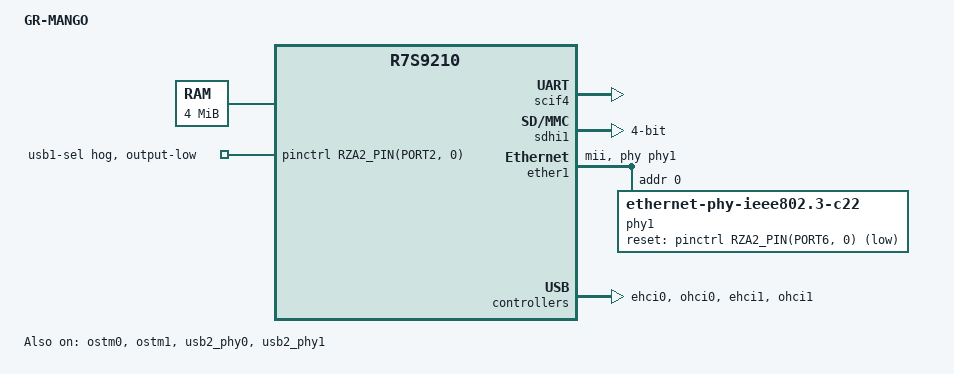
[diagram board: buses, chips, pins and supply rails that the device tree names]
// SPDX-License-Identifier: GPL-2.0
/*
 * Device Tree Source for the GR-MANGO board (Renesas RZ/A2M R7S921058VCBG)
 *
 * The memory node lists the on-chip RAM only: the OctaRAM (0x60000000) is
 * usable once the boot loader has set up its controller.
 */

/dts-v1/;
#include "r7s9210.dtsi"
#include <dt-bindings/gpio/gpio.h>
#include <dt-bindings/pinctrl/r7s9210-pinctrl.h>

/ {
	model = "GR-MANGO";
	compatible = "renesas,gr-mango", "renesas,r7s9210";

	aliases {
		serial0 = &scif4;
		ethernet0 = &ether1;
	};

	chosen {
		stdout-path = "serial0:115200n8";
	};

	/* On-chip RAM; the first 128 KiB are the data-retention RAM. */
	memory@80000000 {
		device_type = "memory";
		reg = <0x80000000 0x00400000>;
	};
};

&extal_clk {
	clock-frequency = <24000000>;
};

&ostm0 {
	status = "okay";
};

&ostm1 {
	status = "okay";
};

&pinctrl {
	/* USB serial of the mbed interface (LPC11U35) */
	scif4_pins: serial4 {
		pinmux = <RZA2_PINMUX(PORT9, 0, 4)>,	/* TxD4 */
			 <RZA2_PINMUX(PORT9, 1, 4)>;	/* RxD4 */
	};

	sdhi1_pins: sdhi1 {
		pinmux = <RZA2_PINMUX(PORT6, 4, 5)>;	/* SD1_CD */
	};

	ether1_pins: ether1 {
		pinmux = <RZA2_PINMUX(PORT3, 1, 1)>,	/* ET1_RXER */
			 <RZA2_PINMUX(PORT3, 2, 1)>,	/* ET1_CRS */
			 <RZA2_PINMUX(PORT3, 3, 1)>,	/* ET1_MDC */
			 <RZA2_PINMUX(PORT3, 4, 1)>,	/* ET1_MDIO */
			 <RZA2_PINMUX(PORT3, 5, 1)>,	/* ET1_RXD1 */
			 <RZA2_PINMUX(PORTC, 0, 3)>,	/* ET1_TXCLK */
			 <RZA2_PINMUX(PORTC, 1, 3)>,	/* ET1_TXD2 */
			 <RZA2_PINMUX(PORTC, 2, 3)>,	/* ET1_TXD3 */
			 <RZA2_PINMUX(PORTC, 3, 3)>,	/* ET1_COL */
			 <RZA2_PINMUX(PORTC, 4, 3)>,	/* ET1_TXER */
			 <RZA2_PINMUX(PORTC, 5, 3)>,	/* ET1_RXDV */
			 <RZA2_PINMUX(PORTC, 6, 3)>,	/* ET1_RXD2 */
			 <RZA2_PINMUX(PORTC, 7, 3)>,	/* ET1_RXD3 */
			 <RZA2_PINMUX(PORTK, 0, 1)>,	/* ET1_TXEN */
			 <RZA2_PINMUX(PORTK, 1, 1)>,	/* ET1_TXD0 */
			 <RZA2_PINMUX(PORTK, 2, 1)>,	/* ET1_TXD1 */
			 <RZA2_PINMUX(PORTK, 3, 1)>,	/* ET1_RXCLK */
			 <RZA2_PINMUX(PORTK, 4, 1)>;	/* ET1_RXD0 */
	};

	usb0_pins: usb0 {
		pinmux = <RZA2_PINMUX(PORT1, 0, 5)>,	/* VBUSEN0 */
			 <RZA2_PINMUX(PORTJ, 5, 3)>;	/* OVRCUR0 */
	};

	/* upper Type-A port / Type-C port */
	usb1_pins: usb1 {
		pinmux = <RZA2_PINMUX(PORT1, 2, 5)>;	/* VBUSEN1 */
	};

	/* 0: USB C, 1: USB A */
	usb1-sel-hog {
		gpio-hog;
		gpios = <RZA2_PIN(PORT2, 0) GPIO_ACTIVE_HIGH>;
		output-low;
		line-name = "usb1-sel";
	};
};

&scif4 {
	pinctrl-names = "default";
	pinctrl-0 = <&scif4_pins>;
	status = "okay";
};

&sdhi1 {
	pinctrl-names = "default";
	pinctrl-0 = <&sdhi1_pins>;
	bus-width = <4>;
	status = "okay";
};

&ether1 {
	pinctrl-names = "default";
	pinctrl-0 = <&ether1_pins>;
	phy-mode = "mii";
	phy-handle = <&phy1>;
	renesas,no-ether-link;
	status = "okay";

	phy1: ethernet-phy@0 {
		compatible = "ethernet-phy-ieee802.3-c22";
		reg = <0>;
		reset-gpios = <&pinctrl RZA2_PIN(PORT6, 0) GPIO_ACTIVE_LOW>;
	};
};

&usb2_phy0 {
	pinctrl-names = "default";
	pinctrl-0 = <&usb0_pins>;
	dr_mode = "host";
	status = "okay";
};

&ehci0 {
	status = "okay";
};

&ohci0 {
	status = "okay";
};

&usb2_phy1 {
	pinctrl-names = "default";
	pinctrl-0 = <&usb1_pins>;
	dr_mode = "host";
	status = "okay";
};

&ehci1 {
	status = "okay";
};

&ohci1 {
	status = "okay";
};
